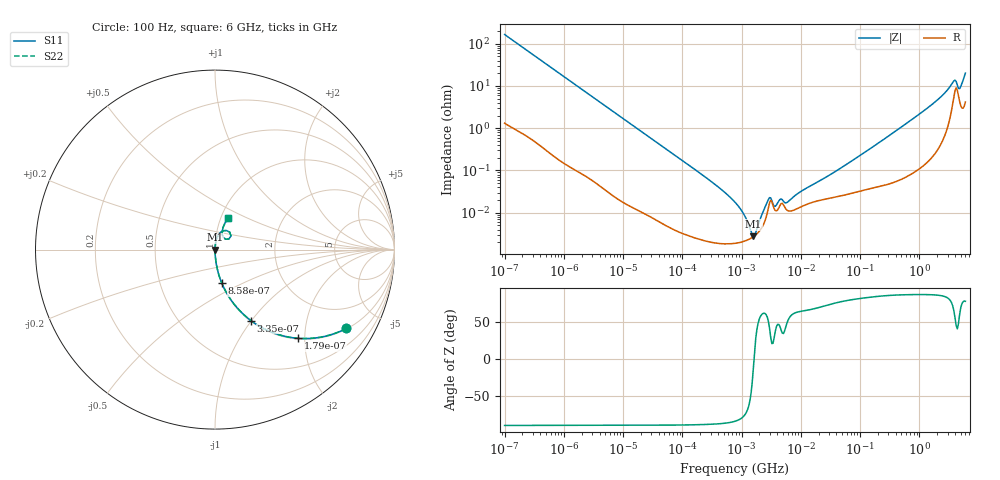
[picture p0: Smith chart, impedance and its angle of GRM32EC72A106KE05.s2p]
!Murata Part Number: GRM32EC72A106KE05
!These Parameters are Measured in Series Mode Connection
!Data Generated on Mar 30, 2021
!  o--ll--o
!Port1  Port2
!  o------o
!Operation Temp=25[degC], DC Bias Voltage=0[V]
!Freq. Start=100[Hz] Stop=6[GHz] 401[Steps]
# Hz S RI R 50
!Freq.(Hz) S11(Real) S11(Imag) S21(Real) S21(Imag) S12(Real) S12(Imag) S22(Real) S22(Imag)
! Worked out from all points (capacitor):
!   401 points, 100 Hz to 6 GHz, reference 50 ohm
!   read as one part in series: C = 9.59 uF near 109 Hz
!   lowest |Z| = 2.76 mohm at 1.586 MHz (marker M1)
!   series resonance near 1.622 MHz, so ESL is about 1 nH
!   S11 on the Smith chart (normalised r, x): 100 Hz: 1.03, -3.31; 179 Hz: 1.02, -1.86; 335 Hz: 1.01, -1.00; 858 Hz: 1.00, -0.39; 6 GHz: 1.08, +0.39
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100  0.7313 -0.4393  0.2687 0.4393  0.2687 0.4393  0.7313 -0.4393
179  0.4633 -0.4943  0.5367 0.4943  0.5367 0.4943  0.4633 -0.4943
335  0.201 -0.3961  0.799 0.3961  0.799 0.3961  0.201 -0.3961
858  0.0383 -0.1877  0.9617 0.1877  0.9617 0.1877  0.0383 -0.1877
2008  0.0078 -0.0832  0.9922 0.0832  0.9922 0.0832  0.0078 -0.0832
40335  7.93e-05 -0.00426  0.9999 0.00426  0.9999 0.00426  7.93e-05 -0.00426
330837  1.98e-05 -0.000506  1 0.000506  1 0.000506  1.98e-05 -0.000506
774597  1.88e-05 -0.000176  1 0.000176  1 0.000176  1.88e-05 -0.000176
1108252  2.11e-05 -8.63e-05  1 8.63e-05  1 8.63e-05  2.11e-05 -8.63e-05
1585629  2.71e-05 -5.1e-06  1 5.1e-06  1 5.1e-06  2.71e-05 -5.1e-06
2169299  4.3e-05 7.39e-05  1 -7.39e-05  1 -7.39e-05  4.3e-05 7.39e-05
2967816  0.00017 0.00015  0.9998 -0.00015  0.9998 -0.00015  0.00017 0.00015
3712478  0.000112 8.68e-05  0.9999 -8.68e-05  0.9999 -8.68e-05  0.000112 8.68e-05
4643984  0.000164 0.000134  0.9998 -0.000134  0.9998 -0.000134  0.000164 0.000134
5809218  0.000116 0.000129  0.9999 -0.000129  0.9999 -0.000129  0.000116 0.000129
1.555665e7  0.000175 0.000419  0.9998 -0.000419  0.9998 -0.000419  0.000175 0.000419
3.124326e8  0.000526 0.00672  0.9995 -0.00672  0.9995 -0.00672  0.000526 0.00672
1.791126e9  0.00398 0.0401  0.996 -0.0401  0.996 -0.0401  0.00398 0.0401
3.666503e9  0.0482 0.1053  0.9518 -0.1053  0.9518 -0.1053  0.0482 0.1053
4.009986e9  0.0823 0.0967  0.9177 -0.0967  0.9177 -0.0967  0.0823 0.0967
4.796499e9  0.0461 0.0687  0.9539 -0.0687  0.9539 -0.0687  0.0461 0.0687
6e9  0.0733 0.1752  0.9267 -0.1752  0.9267 -0.1752  0.0733 0.1752
